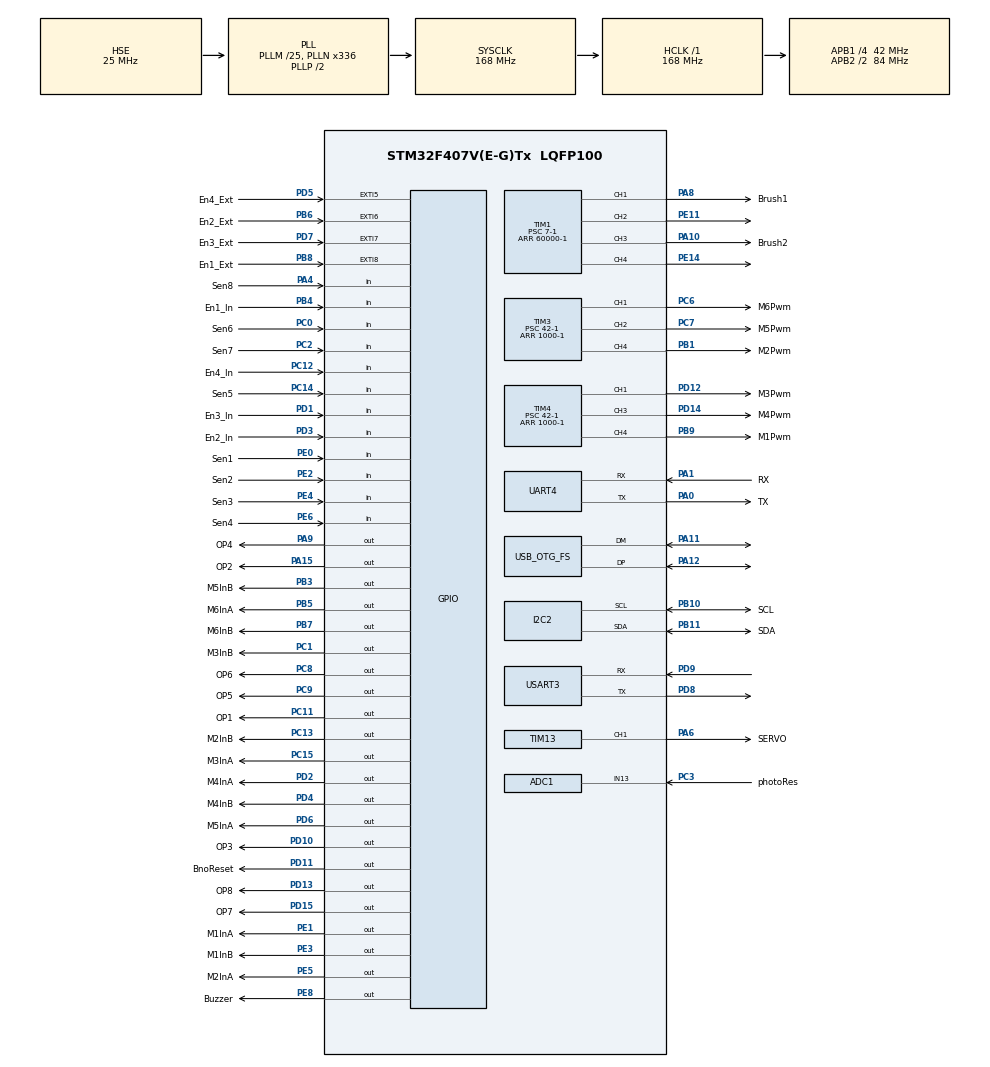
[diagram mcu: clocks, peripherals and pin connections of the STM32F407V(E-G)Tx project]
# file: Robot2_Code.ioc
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ADC1.Channel-0\#ChannelRegularConversion=ADC_CHANNEL_13
ADC1.NbrOfConversionFlag=1
ADC1.Rank-0\#ChannelRegularConversion=1
ADC1.SamplingTime-0\#ChannelRegularConversion=ADC_SAMPLETIME_3CYCLES
ADC1.master=1
Dma.Request0=UART4_TX
Dma.UART4_TX.0.Direction=DMA_MEMORY_TO_PERIPH
Dma.UART4_TX.0.FIFOMode=DMA_FIFOMODE_DISABLE
Dma.UART4_TX.0.Instance=DMA1_Stream4
Dma.UART4_TX.0.MemDataAlignment=DMA_MDATAALIGN_BYTE
Dma.UART4_TX.0.MemInc=DMA_MINC_ENABLE
Dma.UART4_TX.0.Mode=DMA_NORMAL
Dma.UART4_TX.0.PeriphDataAlignment=DMA_PDATAALIGN_BYTE
Dma.UART4_TX.0.PeriphInc=DMA_PINC_DISABLE
Dma.UART4_TX.0.Priority=DMA_PRIORITY_LOW
I2C2.I2C_Mode=I2C_Fast
Mcu.Family=STM32F4
Mcu.Name=STM32F407V(E-G)Tx
Mcu.Package=LQFP100
NVIC.DMA1_Stream4_IRQn=true\:0\:0\:false\:false\:true\:false\:true\:true
NVIC.EXTI9_5_IRQn=true\:0\:0\:false\:false\:true\:true\:true\:true
NVIC.OTG_FS_IRQn=true\:0\:0\:false\:false\:true\:false\:true\:true
NVIC.PriorityGroup=NVIC_PRIORITYGROUP_4
NVIC.TIM7_IRQn=true\:0\:0\:false\:false\:true\:true\:true\:true
NVIC.USART3_IRQn=true\:0\:0\:false\:false\:true\:true\:true\:true
PA0-WKUP.GPIO_Label=TX
PA0-WKUP.Mode=Asynchronous
PA0-WKUP.Signal=UART4_TX
PA1.GPIO_Label=RX
PA1.Mode=Asynchronous
PA1.Signal=UART4_RX
PA10.GPIO_Label=Brush2
PA10.Signal=S_TIM1_CH3
PA11.Mode=Device_Only
PA11.Signal=USB_OTG_FS_DM
PA12.Mode=Device_Only
PA12.Signal=USB_OTG_FS_DP
PA13.Mode=Serial_Wire
PA13.Signal=SYS_JTMS-SWDIO
PA14.Mode=Serial_Wire
PA14.Signal=SYS_JTCK-SWCLK
PA15.GPIO_Label=OP2
PA15.Signal=GPIO_Output
PA4.GPIO_Label=Sen8
PA4.GPIO_PuPd=GPIO_PULLUP
PA4.Signal=GPIO_Input
PA6.GPIO_Label=SERVO
PA6.Signal=S_TIM13_CH1
PA8.GPIO_Label=Brush1
PA8.Signal=S_TIM1_CH1
PA9.GPIO_Label=OP4
PA9.Signal=GPIO_Output
PB1.GPIO_Label=M2Pwm
PB1.Signal=S_TIM3_CH4
PB10.GPIO_Label=SCL
PB10.Mode=I2C
PB10.Signal=I2C2_SCL
PB11.GPIO_Label=SDA
PB11.Mode=I2C
PB11.Signal=I2C2_SDA
PB3.GPIO_Label=M5InB
PB3.Signal=GPIO_Output
PB4.GPIO_Label=En1_In
PB4.GPIO_PuPd=GPIO_PULLUP
PB4.Signal=GPIO_Input
PB5.GPIO_Label=M6InA
PB5.Signal=GPIO_Output
PB6.GPIO_Label=En2_Ext
PB6.GPIO_ModeDefaultEXTI=GPIO_MODE_IT_RISING
PB6.Signal=GPXTI6
PB7.GPIO_Label=M6InB
PB7.Signal=GPIO_Output
PB8.GPIO_Label=En1_Ext
PB8.Signal=GPXTI8
PB9.GPIO_Label=M1Pwm
PB9.Signal=S_TIM4_CH4
PC0.GPIO_Label=Sen6
PC0.GPIO_PuPd=GPIO_PULLUP
PC0.Signal=GPIO_Input
PC1.GPIO_Label=M3InB
PC1.Signal=GPIO_Output
PC11.GPIO_Label=OP1
PC11.Signal=GPIO_Output
PC12.GPIO_Label=En4_In
PC12.GPIO_PuPd=GPIO_PULLUP
PC12.Signal=GPIO_Input
PC13-ANTI_TAMP.GPIO_Label=M2InB
PC13-ANTI_TAMP.Signal=GPIO_Output
PC14-OSC32_IN.GPIO_Label=Sen5
PC14-OSC32_IN.GPIO_PuPd=GPIO_PULLUP
PC14-OSC32_IN.Signal=GPIO_Input
PC15-OSC32_OUT.GPIO_Label=M3InA
PC15-OSC32_OUT.Signal=GPIO_Output
PC2.GPIO_Label=Sen7
PC2.GPIO_PuPd=GPIO_PULLUP
PC2.Signal=GPIO_Input
PC3.GPIO_Label=photoRes
PC3.Signal=SharedAnalog_PC3
PC6.GPIO_Label=M6Pwm
PC6.Signal=S_TIM3_CH1
PC7.GPIO_Label=M5Pwm
PC7.Signal=S_TIM3_CH2
PC8.GPIO_Label=OP6
PC8.Signal=GPIO_Output
PC9.GPIO_Label=OP5
PC9.Signal=GPIO_Output
PD1.GPIO_Label=En3_In
PD1.GPIO_PuPd=GPIO_PULLUP
PD1.Signal=GPIO_Input
PD10.GPIO_Label=OP3
PD10.Signal=GPIO_Output
PD11.GPIO_Label=BnoReset
PD11.Signal=GPIO_Output
PD12.GPIO_Label=M3Pwm
PD12.Signal=S_TIM4_CH1
PD13.GPIO_Label=OP8
PD13.Signal=GPIO_Output
PD14.GPIO_Label=M4Pwm
PD14.Signal=S_TIM4_CH3
PD15.GPIO_Label=OP7
PD15.Signal=GPIO_Output
PD2.GPIO_Label=M4InA
PD2.Signal=GPIO_Output
PD3.GPIO_Label=En2_In
PD3.GPIO_PuPd=GPIO_PULLUP
PD3.Signal=GPIO_Input
PD4.GPIO_Label=M4InB
PD4.Signal=GPIO_Output
PD5.GPIO_Label=En4_Ext
PD5.Signal=GPXTI5
PD6.GPIO_Label=M5InA
PD6.Signal=GPIO_Output
PD7.GPIO_Label=En3_Ext
PD7.Signal=GPXTI7
PD8.Mode=Asynchronous
PD8.Signal=USART3_TX
PD9.Mode=Asynchronous
PD9.Signal=USART3_RX
PE0.GPIO_Label=Sen1
PE0.GPIO_PuPd=GPIO_PULLUP
PE0.Signal=GPIO_Input
PE1.GPIO_Label=M1InA
PE1.Signal=GPIO_Output
PE11.Signal=S_TIM1_CH2
PE14.Signal=S_TIM1_CH4
PE2.GPIO_Label=Sen2
PE2.GPIO_PuPd=GPIO_PULLUP
PE2.Signal=GPIO_Input
PE3.GPIO_Label=M1InB
PE3.Signal=GPIO_Output
PE4.GPIO_Label=Sen3
PE4.GPIO_PuPd=GPIO_PULLUP
PE4.Signal=GPIO_Input
PE5.GPIO_Label=M2InA
PE5.Signal=GPIO_Output
PE6.GPIO_Label=Sen4
PE6.GPIO_PuPd=GPIO_PULLUP
PE6.Signal=GPIO_Input
PE8.GPIO_Label=Buzzer
PE8.Signal=GPIO_Output
PH0-OSC_IN.Mode=HSE-External-Oscillator
PH0-OSC_IN.Signal=RCC_OSC_IN
PH1-OSC_OUT.Mode=HSE-External-Oscillator
PH1-OSC_OUT.Signal=RCC_OSC_OUT
ProjectManager.HeapSize=0x200
ProjectManager.StackSize=0x400
ProjectManager.TargetToolchain=CMake
RCC.48MHZClocksFreq_Value=48000000
RCC.AHBFreq_Value=168000000
RCC.APB1CLKDivider=RCC_HCLK_DIV4
RCC.APB1Freq_Value=42000000
RCC.APB1TimFreq_Value=84000000
RCC.APB2CLKDivider=RCC_HCLK_DIV2
RCC.APB2Freq_Value=84000000
RCC.APB2TimFreq_Value=168000000
RCC.CortexFreq_Value=168000000
RCC.HCLKFreq_Value=168000000
RCC.HSE_VALUE=25000000
RCC.HSI_VALUE=16000000
RCC.LSE_VALUE=32768
RCC.PLLM=25
RCC.PLLN=336
RCC.PLLQ=7
RCC.SYSCLKFreq_VALUE=168000000
RCC.SYSCLKSource=RCC_SYSCLKSOURCE_PLLCLK
RCC.VCOOutputFreq_Value=336000000
SH.S_TIM13_CH1.0=TIM13_CH1,PWM Generation1 CH1
SH.S_TIM1_CH1.0=TIM1_CH1,PWM Generation1 CH1
SH.S_TIM1_CH2.0=TIM1_CH2,PWM Generation2 CH2
SH.S_TIM1_CH3.0=TIM1_CH3,PWM Generation3 CH3
SH.S_TIM1_CH4.0=TIM1_CH4,PWM Generation4 CH4
SH.S_TIM3_CH1.0=TIM3_CH1,PWM Generation1 CH1
SH.S_TIM3_CH2.0=TIM3_CH2,PWM Generation2 CH2
SH.S_TIM3_CH4.0=TIM3_CH4,PWM Generation4 CH4
SH.S_TIM4_CH1.0=TIM4_CH1,PWM Generation1 CH1
SH.S_TIM4_CH3.0=TIM4_CH3,PWM Generation3 CH3
SH.S_TIM4_CH4.0=TIM4_CH4,PWM Generation4 CH4
SH.SharedAnalog_PC3.0=GPIO_Analog
SH.SharedAnalog_PC3.1=ADC1_IN13,IN13
TIM1.Channel-PWM\ Generation1\ CH1=TIM_CHANNEL_1
TIM1.Channel-PWM\ Generation2\ CH2=TIM_CHANNEL_2
TIM1.Channel-PWM\ Generation3\ CH3=TIM_CHANNEL_3
TIM1.Channel-PWM\ Generation4\ CH4=TIM_CHANNEL_4
TIM1.Period=60000-1
TIM1.Prescaler=7-1
TIM13.Channel=TIM_CHANNEL_1
TIM13.Period=19999
TIM13.Prescaler=83
TIM13.Pulse=1500
TIM3.Channel-PWM\ Generation1\ CH1=TIM_CHANNEL_1
TIM3.Channel-PWM\ Generation2\ CH2=TIM_CHANNEL_2
TIM3.Channel-PWM\ Generation4\ CH4=TIM_CHANNEL_4
TIM3.Period=1000-1
TIM3.Prescaler=42-1
TIM4.Channel-PWM\ Generation1\ CH1=TIM_CHANNEL_1
TIM4.Channel-PWM\ Generation3\ CH3=TIM_CHANNEL_3
TIM4.Channel-PWM\ Generation4\ CH4=TIM_CHANNEL_4
TIM4.Period=1000-1
TIM4.Prescaler=42-1
TIM7.Period=1000-1
TIM7.Prescaler=42-1
UART4.VirtualMode=Asynchronous
USART3.VirtualMode=VM_ASYNC
USB_DEVICE.CLASS_NAME_FS=CDC
USB_DEVICE.VirtualMode-CDC_FS=Cdc
USB_DEVICE.VirtualModeFS=Cdc_FS
USB_OTG_FS.VirtualMode=Device_Only
VP_TIM13_VS_ClockSourceINT.Mode=Enable_Timer
VP_TIM1_VS_ClockSourceINT.Mode=Internal
VP_TIM4_VS_ClockSourceINT.Mode=Internal
VP_TIM7_VS_ClockSourceINT.Mode=Enable_Timer
VP_USB_DEVICE_VS_USB_DEVICE_CDC_FS.Mode=CDC_FS
board=custom

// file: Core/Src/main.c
/* USER CODE BEGIN Header */
/**
  ******************************************************************************
  * @file           : main.c
  * @brief          : Main program body
  ******************************************************************************
  * @attention
  *
  * Copyright (c) 2025 STMicroelectronics.
  * All rights reserved.
  *
  * This software is licensed under terms that can be found in the LICENSE file
  * in the root directory of this software component.
  * If no LICENSE file comes with this software, it is provided AS-IS.
  *
  ***************************************c***************************************
  */
/* USER CODE END Header */
#include "main.h"
#include "usb_device.h"

/* USER CODE BEGIN Includes */
#include "lpms.h"
#include "general.h"
#include "test.h"
#include <stdio.h>
#include "red.h"
#include "blue.h"
#include "sequence.h"
//#include "lpms.h"
/* USER CODE END Includes */

ADC_HandleTypeDef hadc1;

I2C_HandleTypeDef hi2c2;

TIM_HandleTypeDef htim1;
TIM_HandleTypeDef htim3;
TIM_HandleTypeDef htim4;
TIM_HandleTypeDef htim7;
TIM_HandleTypeDef htim13;

UART_HandleTypeDef huart4;
UART_HandleTypeDef huart3;
DMA_HandleTypeDef hdma_uart4_tx;

void SystemClock_Config(void);
static void MX_GPIO_Init(void);
static void MX_DMA_Init(void);
static void MX_I2C2_Init(void);
static void MX_TIM1_Init(void);
static void MX_UART4_Init(void);
static void MX_USART3_UART_Init(void);
static void MX_TIM3_Init(void);
static void MX_TIM4_Init(void);
static void MX_TIM7_Init(void);
static void MX_TIM13_Init(void);
static void MX_ADC1_Init(void);
/* USER CODE BEGIN PFP */

int control_data[5][4]={0};

void send_DMA(uint8_t command) {
    HAL_UART_Transmit(&huart4, &command, 1, HAL_MAX_DELAY);
}
uint8_t information[23];  // шинэ урт
uint8_t rx_idx = 0;
uint8_t data;

/* -----------------------------------------------------------------------------
 *  HAL_UART_RxCpltCallback — ESP32-оос ирсэн PS5 багцыг задлах (huart3, 1 байт/удаа)
 *
 *  Багц: 23 байт,  [0]=0xAA (START) ... [22]=0x0A (END),  [21]=холболтын флаг.
 *  START байт хүлээж, 23 байт бүрдэхэд задалж control_data[5][4]-д хийнэ.
 *
 *  ─ Джойстик (information[1..4] − 100 → control_data[0][0..3], утга −100..100) ─
 *      control_data[0][0] = Зүүн стик X       control_data[0][2] = Баруун стик X
 *      control_data[0][1] = Зүүн стик Y       control_data[0][3] = Баруун стик Y
 *
 *  ─ Товч (information[5..20] → control_data[1..4][0..3], утга 0/1) ─
 *      control_data[1][0]=Cross    [1][1]=Square   [1][2]=Triangle [1][3]=Circle
 *      control_data[2][0]=D-Down   [2][1]=D-Right  [2][2]=D-Up     [2][3]=D-Left
 *      control_data[3][0]=L1       [3][1]=R1       [3][2]=L2       [3][3]=R2
 *      control_data[4][0]=Share    [4][1]=Options  [4][2]=L3       [4][3]=R3
 *
 *  Холбогдоогүй (флаг = 0) бол бүх утгыг 0 болгож цэвэрлэнэ.
 * -----------------------------------------------------------------------------
 */
void HAL_UART_RxCpltCallback(UART_HandleTypeDef *huart)
{
  if (huart == &huart3)
  {
    if (rx_idx == 0 && data != 0xAA) {
      HAL_UART_Receive_IT(&huart3, &data, 1);
      return;
    }

    information[rx_idx++] = data;

    if (rx_idx == 23 && information[22] == 0x0A)
    {
      uint8_t isConnected = information[21];

      if (isConnected == 1) {
        // --- Джойстик: information[1..4] → control_data[0][0..3], төв 100-г хасаж -100..100 ---
        //   [0][0]=LStickX  [0][1]=LStickY  [0][2]=RStickX  [0][3]=RStickY
        for (int i = 0; i < 4; i++) {
          control_data[0][i] = information[1 + i] - 100;
        }

        // --- Товч: information[5..20] → control_data[1..4][0..3] (0/1) ---
        //   мөр 1 = Cross/Square/Triangle/Circle
        //   мөр 2 = D-pad Down/Right/Up/Left
        //   мөр 3 = L1/R1/L2/R2
        //   мөр 4 = Share/Options/L3/R3
        for (int i = 0; i < 16; i++) {
          control_data[1 + (i / 4)][i % 4] = information[5 + i];
        }

      } else {
        // --- Холбогдоогүй: бүх джойстик/товчийг тэглэх ---
        for (int i = 0; i < 5; i++) {
          for (int j = 0; j < 4; j++) {
            control_data[i][j] = 0;
          }
        }
      }

      rx_idx = 0;
    }
    else if (rx_idx >= 23) {
    	rx_idx = 0;  // invalid
    }

    HAL_UART_Receive_IT(&huart3, &data, 1);
  }
}

/* USER CODE END PFP */

/* USER CODE BEGIN 0 */

extern int timer;
extern int counter[4];

uint8_t usb_received_value = 0;
uint8_t usb_new_data_flag = 0;

/* USER CODE END 0 */

int main(void)
{

  /* MCU Configuration--------------------------------------------------------*/

  /* Reset of all peripherals, Initializes the Flash interface and the Systick. */
  HAL_Init();

  /* Configure the system clock */
  SystemClock_Config();

  /* Initialize all configured peripherals */
  MX_GPIO_Init();
  MX_DMA_Init();
  MX_I2C2_Init();
  MX_TIM1_Init();
  MX_UART4_Init();
  MX_USART3_UART_Init();
  MX_TIM3_Init();
  MX_TIM4_Init();
  MX_TIM7_Init();
  MX_TIM13_Init();
  MX_ADC1_Init();
  MX_USB_DEVICE_Init();
  /* USER CODE BEGIN 2 */
  generalInit();
  LPMS_Init();

  for (int i = 0; i < 50; i++) {
      LPMS_Read();
  }

  Gyro_ZeroYaw();

  Rack_SetHome(&frontRack);
  Rack_SetHome(&backRack);
  Red_Reset();
  /* USER CODE END 2 */

  /* Infinite loop */
  /* USER CODE BEGIN WHILE */

  // ===== ТЕСТ: рак-ийг TIM7 ISR-ээр барих, R1/R2/L1/L2 товчоор зорилт тохируулах =====
  // Товч дарахад урд/хойд рак ХОЁУЛАА тухайн байрлал руу очиж, ISR тэнд барина.
  // ESP32 packet-ийн дагуу control_data[3] = { L1, R1, L2, R2 }:
  //   control_data[3][1] = R1  → 900
  //   control_data[3][3] = R2  → 1350
  //   control_data[3][0] = L1  → 1800
  //   control_data[3][2] = L2  → 0
  // (Байрлал ↔ товчийг доор чөлөөтэй сольж болно.)
  Rack_SetTarget(&frontRack, 0);
  Rack_SetTarget(&backRack, 0);

  while (1) {
      int pos = -1;   // -1 = товч дараагүй

      if      (control_data[3][1]) pos = 900;    // R1
      else if (control_data[3][3]) pos = 1350;   // R2
      else if (control_data[3][0]) pos = 1800;   // L1
      else if (control_data[3][2]) pos = 0;      // L2

      // Товч дарагдсан бол урд/хойд ХОЁУЛАНГ тухайн байрлал руу
      if (pos >= 0) {
          Rack_SetTarget(&frontRack, pos);
          Rack_SetTarget(&backRack,  pos);
      }

      // --- OLED: зорилт vs бодит encoder (рак ISR-ээр баригдаж байгааг хар) ---
      colorFill(Black);
      setCursor(4, 2);
      printStr("FRONT t:%d", frontRack.target);
      setCursor(4, 14);
      printStr("  enc:%d", counter[0]);
      setCursor(4, 30);
      printStr("BACK  t:%d", backRack.target);
      setCursor(4, 42);
      printStr("  enc:%d", counter[1]);
      setScreen();

      HAL_Delay(20);
  }
    /* USER CODE END WHILE */

}

void SystemClock_Config(void)
{
  RCC_OscInitTypeDef RCC_OscInitStruct = {0};
  RCC_ClkInitTypeDef RCC_ClkInitStruct = {0};

  /** Configure the main internal regulator output voltage
  */
  __HAL_RCC_PWR_CLK_ENABLE();
  __HAL_PWR_VOLTAGESCALING_CONFIG(PWR_REGULATOR_VOLTAGE_SCALE1);

  /** Initializes the RCC Oscillators according to the specified parameters
  * in the RCC_OscInitTypeDef structure.
  */
  RCC_OscInitStruct.OscillatorType = RCC_OSCILLATORTYPE_HSE;
  RCC_OscInitStruct.HSEState = RCC_HSE_ON;
  RCC_OscInitStruct.PLL.PLLState = RCC_PLL_ON;
  RCC_OscInitStruct.PLL.PLLSource = RCC_PLLSOURCE_HSE;
  RCC_OscInitStruct.PLL.PLLM = 25;
  RCC_OscInitStruct.PLL.PLLN = 336;
  RCC_OscInitStruct.PLL.PLLP = RCC_PLLP_DIV2;
  RCC_OscInitStruct.PLL.PLLQ = 7;
  if (HAL_RCC_OscConfig(&RCC_OscInitStruct) != HAL_OK)
  {
    Error_Handler();
  }

  /** Initializes the CPU, AHB and APB buses clocks
  */
  RCC_ClkInitStruct.ClockType = RCC_CLOCKTYPE_HCLK|RCC_CLOCKTYPE_SYSCLK
                              |RCC_CLOCKTYPE_PCLK1|RCC_CLOCKTYPE_PCLK2;
  RCC_ClkInitStruct.SYSCLKSource = RCC_SYSCLKSOURCE_PLLCLK;
  RCC_ClkInitStruct.AHBCLKDivider = RCC_SYSCLK_DIV1;
  RCC_ClkInitStruct.APB1CLKDivider = RCC_HCLK_DIV4;
  RCC_ClkInitStruct.APB2CLKDivider = RCC_HCLK_DIV2;

  if (HAL_RCC_ClockConfig(&RCC_ClkInitStruct, FLASH_LATENCY_5) != HAL_OK)
  {
    Error_Handler();
  }
}

static void MX_ADC1_Init(void)
{

  ADC_ChannelConfTypeDef sConfig = {0};

  /** Configure the global features of the ADC (Clock, Resolution, Data Alignment and number of conversion)
  */
  hadc1.Instance = ADC1;
  hadc1.Init.ClockPrescaler = ADC_CLOCK_SYNC_PCLK_DIV4;
  hadc1.Init.Resolution = ADC_RESOLUTION_12B;
  hadc1.Init.ScanConvMode = DISABLE;
  hadc1.Init.ContinuousConvMode = DISABLE;
  hadc1.Init.DiscontinuousConvMode = DISABLE;
  hadc1.Init.ExternalTrigConvEdge = ADC_EXTERNALTRIGCONVEDGE_NONE;
  hadc1.Init.ExternalTrigConv = ADC_SOFTWARE_START;
  hadc1.Init.DataAlign = ADC_DATAALIGN_RIGHT;
  hadc1.Init.NbrOfConversion = 1;
  hadc1.Init.DMAContinuousRequests = DISABLE;
  hadc1.Init.EOCSelection = ADC_EOC_SINGLE_CONV;
  if (HAL_ADC_Init(&hadc1) != HAL_OK)
  {
    Error_Handler();
  }

  /** Configure for the selected ADC regular channel its corresponding rank in the sequencer and its sample time.
  */
  sConfig.Channel = ADC_CHANNEL_13;
  sConfig.Rank = 1;
  sConfig.SamplingTime = ADC_SAMPLETIME_3CYCLES;
  if (HAL_ADC_ConfigChannel(&hadc1, &sConfig) != HAL_OK)
  {
    Error_Handler();
  }

}

static void MX_I2C2_Init(void)
{

  hi2c2.Instance = I2C2;
  hi2c2.Init.ClockSpeed = 400000;
  hi2c2.Init.DutyCycle = I2C_DUTYCYCLE_2;
  hi2c2.Init.OwnAddress1 = 0;
  hi2c2.Init.AddressingMode = I2C_ADDRESSINGMODE_7BIT;
  hi2c2.Init.DualAddressMode = I2C_DUALADDRESS_DISABLE;
  hi2c2.Init.OwnAddress2 = 0;
  hi2c2.Init.GeneralCallMode = I2C_GENERALCALL_DISABLE;
  hi2c2.Init.NoStretchMode = I2C_NOSTRETCH_DISABLE;
  if (HAL_I2C_Init(&hi2c2) != HAL_OK)
  {
    Error_Handler();
  }

}

static void MX_TIM1_Init(void)
{

  TIM_ClockConfigTypeDef sClockSourceConfig = {0};
  TIM_MasterConfigTypeDef sMasterConfig = {0};
  TIM_OC_InitTypeDef sConfigOC = {0};
  TIM_BreakDeadTimeConfigTypeDef sBreakDeadTimeConfig = {0};

  htim1.Instance = TIM1;
  htim1.Init.Prescaler = 7-1;
  htim1.Init.CounterMode = TIM_COUNTERMODE_UP;
  htim1.Init.Period = 60000-1;
  htim1.Init.ClockDivision = TIM_CLOCKDIVISION_DIV1;
  htim1.Init.RepetitionCounter = 0;
  htim1.Init.AutoReloadPreload = TIM_AUTORELOAD_PRELOAD_DISABLE;
  if (HAL_TIM_Base_Init(&htim1) != HAL_OK)
  {
    Error_Handler();
  }
  sClockSourceConfig.ClockSource = TIM_CLOCKSOURCE_INTERNAL;
  if (HAL_TIM_ConfigClockSource(&htim1, &sClockSourceConfig) != HAL_OK)
  {
    Error_Handler();
  }
  if (HAL_TIM_PWM_Init(&htim1) != HAL_OK)
  {
    Error_Handler();
  }
  sMasterConfig.MasterOutputTrigger = TIM_TRGO_RESET;
  sMasterConfig.MasterSlaveMode = TIM_MASTERSLAVEMODE_DISABLE;
  if (HAL_TIMEx_MasterConfigSynchronization(&htim1, &sMasterConfig) != HAL_OK)
  {
    Error_Handler();
  }
  sConfigOC.OCMode = TIM_OCMODE_PWM1;
  sConfigOC.Pulse = 0;
  sConfigOC.OCPolarity = TIM_OCPOLARITY_HIGH;
  sConfigOC.OCNPolarity = TIM_OCNPOLARITY_HIGH;
  sConfigOC.OCFastMode = TIM_OCFAST_DISABLE;
  sConfigOC.OCIdleState = TIM_OCIDLESTATE_RESET;
  sConfigOC.OCNIdleState = TIM_OCNIDLESTATE_RESET;
  if (HAL_TIM_PWM_ConfigChannel(&htim1, &sConfigOC, TIM_CHANNEL_1) != HAL_OK)
  {
    Error_Handler();
  }
  if (HAL_TIM_PWM_ConfigChannel(&htim1, &sConfigOC, TIM_CHANNEL_2) != HAL_OK)
  {
    Error_Handler();
  }
  if (HAL_TIM_PWM_ConfigChannel(&htim1, &sConfigOC, TIM_CHANNEL_3) != HAL_OK)
  {
    Error_Handler();
  }
  if (HAL_TIM_PWM_ConfigChannel(&htim1, &sConfigOC, TIM_CHANNEL_4) != HAL_OK)
  {
    Error_Handler();
  }
  sBreakDeadTimeConfig.OffStateRunMode = TIM_OSSR_DISABLE;
  sBreakDeadTimeConfig.OffStateIDLEMode = TIM_OSSI_DISABLE;
  sBreakDeadTimeConfig.LockLevel = TIM_LOCKLEVEL_OFF;
  sBreakDeadTimeConfig.DeadTime = 0;
  sBreakDeadTimeConfig.BreakState = TIM_BREAK_DISABLE;
  sBreakDeadTimeConfig.BreakPolarity = TIM_BREAKPOLARITY_HIGH;
  sBreakDeadTimeConfig.AutomaticOutput = TIM_AUTOMATICOUTPUT_DISABLE;
  if (HAL_TIMEx_ConfigBreakDeadTime(&htim1, &sBreakDeadTimeConfig) != HAL_OK)
  {
    Error_Handler();
  }
  HAL_TIM_MspPostInit(&htim1);

}

static void MX_TIM3_Init(void)
{

  TIM_MasterConfigTypeDef sMasterConfig = {0};
  TIM_OC_InitTypeDef sConfigOC = {0};

  htim3.Instance = TIM3;
  htim3.Init.Prescaler = 42-1;
  htim3.Init.CounterMode = TIM_COUNTERMODE_UP;
  htim3.Init.Period = 1000-1;
  htim3.Init.ClockDivision = TIM_CLOCKDIVISION_DIV1;
  htim3.Init.AutoReloadPreload = TIM_AUTORELOAD_PRELOAD_DISABLE;
  if (HAL_TIM_PWM_Init(&htim3) != HAL_OK)
  {
    Error_Handler();
  }
  sMasterConfig.MasterOutputTrigger = TIM_TRGO_RESET;
  sMasterConfig.MasterSlaveMode = TIM_MASTERSLAVEMODE_DISABLE;
  if (HAL_TIMEx_MasterConfigSynchronization(&htim3, &sMasterConfig) != HAL_OK)
  {
    Error_Handler();
  }
  sConfigOC.OCMode = TIM_OCMODE_PWM1;
  sConfigOC.Pulse = 0;
  sConfigOC.OCPolarity = TIM_OCPOLARITY_HIGH;
  sConfigOC.OCFastMode = TIM_OCFAST_DISABLE;
  if (HAL_TIM_PWM_ConfigChannel(&htim3, &sConfigOC, TIM_CHANNEL_1) != HAL_OK)
  {
    Error_Handler();
  }
  if (HAL_TIM_PWM_ConfigChannel(&htim3, &sConfigOC, TIM_CHANNEL_2) != HAL_OK)
  {
    Error_Handler();
  }
  if (HAL_TIM_PWM_ConfigChannel(&htim3, &sConfigOC, TIM_CHANNEL_4) != HAL_OK)
  {
    Error_Handler();
  }
  HAL_TIM_MspPostInit(&htim3);

}

static void MX_TIM4_Init(void)
{

  TIM_ClockConfigTypeDef sClockSourceConfig = {0};
  TIM_MasterConfigTypeDef sMasterConfig = {0};
  TIM_OC_InitTypeDef sConfigOC = {0};

  htim4.Instance = TIM4;
  htim4.Init.Prescaler = 42-1;
  htim4.Init.CounterMode = TIM_COUNTERMODE_UP;
  htim4.Init.Period = 1000-1;
  htim4.Init.ClockDivision = TIM_CLOCKDIVISION_DIV1;
  htim4.Init.AutoReloadPreload = TIM_AUTORELOAD_PRELOAD_DISABLE;
  if (HAL_TIM_Base_Init(&htim4) != HAL_OK)
  {
    Error_Handler();
  }
  sClockSourceConfig.ClockSource = TIM_CLOCKSOURCE_INTERNAL;
  if (HAL_TIM_ConfigClockSource(&htim4, &sClockSourceConfig) != HAL_OK)
  {
    Error_Handler();
  }
  if (HAL_TIM_PWM_Init(&htim4) != HAL_OK)
  {
    Error_Handler();
  }
  sMasterConfig.MasterOutputTrigger = TIM_TRGO_RESET;
  sMasterConfig.MasterSlaveMode = TIM_MASTERSLAVEMODE_DISABLE;
  if (HAL_TIMEx_MasterConfigSynchronization(&htim4, &sMasterConfig) != HAL_OK)
  {
    Error_Handler();
  }
  sConfigOC.OCMode = TIM_OCMODE_PWM1;
  sConfigOC.Pulse = 0;
  sConfigOC.OCPolarity = TIM_OCPOLARITY_HIGH;
  sConfigOC.OCFastMode = TIM_OCFAST_DISABLE;
  if (HAL_TIM_PWM_ConfigChannel(&htim4, &sConfigOC, TIM_CHANNEL_1) != HAL_OK)
  {
    Error_Handler();
  }
  if (HAL_TIM_PWM_ConfigChannel(&htim4, &sConfigOC, TIM_CHANNEL_3) != HAL_OK)
  {
    Error_Handler();
  }
  if (HAL_TIM_PWM_ConfigChannel(&htim4, &sConfigOC, TIM_CHANNEL_4) != HAL_OK)
  {
    Error_Handler();
  }
  HAL_TIM_MspPostInit(&htim4);

}

static void MX_TIM7_Init(void)
{

  TIM_MasterConfigTypeDef sMasterConfig = {0};

  htim7.Instance = TIM7;
  htim7.Init.Prescaler = 42-1;
  htim7.Init.CounterMode = TIM_COUNTERMODE_UP;
  htim7.Init.Period = 1000-1;
  htim7.Init.AutoReloadPreload = TIM_AUTORELOAD_PRELOAD_DISABLE;
  if (HAL_TIM_Base_Init(&htim7) != HAL_OK)
  {
    Error_Handler();
  }
  sMasterConfig.MasterOutputTrigger = TIM_TRGO_RESET;
  sMasterConfig.MasterSlaveMode = TIM_MASTERSLAVEMODE_DISABLE;
  if (HAL_TIMEx_MasterConfigSynchronization(&htim7, &sMasterConfig) != HAL_OK)
  {
    Error_Handler();
  }

}

static void MX_TIM13_Init(void)
{

  TIM_OC_InitTypeDef sConfigOC = {0};

  htim13.Instance = TIM13;
  htim13.Init.Prescaler = 83;
  htim13.Init.CounterMode = TIM_COUNTERMODE_UP;
  htim13.Init.Period = 19999;
  htim13.Init.ClockDivision = TIM_CLOCKDIVISION_DIV1;
  htim13.Init.AutoReloadPreload = TIM_AUTORELOAD_PRELOAD_DISABLE;
  if (HAL_TIM_Base_Init(&htim13) != HAL_OK)
  {
    Error_Handler();
  }
  if (HAL_TIM_PWM_Init(&htim13) != HAL_OK)
  {
    Error_Handler();
  }
  sConfigOC.OCMode = TIM_OCMODE_PWM1;
  sConfigOC.Pulse = 1500;
  sConfigOC.OCPolarity = TIM_OCPOLARITY_HIGH;
  sConfigOC.OCFastMode = TIM_OCFAST_DISABLE;
  if (HAL_TIM_PWM_ConfigChannel(&htim13, &sConfigOC, TIM_CHANNEL_1) != HAL_OK)
  {
    Error_Handler();
  }
  HAL_TIM_MspPostInit(&htim13);

}

static void MX_UART4_Init(void)
{

  huart4.Instance = UART4;
  huart4.Init.BaudRate = 115200;
  huart4.Init.WordLength = UART_WORDLENGTH_8B;
  huart4.Init.StopBits = UART_STOPBITS_1;
  huart4.Init.Parity = UART_PARITY_NONE;
  huart4.Init.Mode = UART_MODE_TX_RX;
  huart4.Init.HwFlowCtl = UART_HWCONTROL_NONE;
  huart4.Init.OverSampling = UART_OVERSAMPLING_16;
  if (HAL_UART_Init(&huart4) != HAL_OK)
  {
    Error_Handler();
  }

}

static void MX_USART3_UART_Init(void)
{

  huart3.Instance = USART3;
  huart3.Init.BaudRate = 115200;
  huart3.Init.WordLength = UART_WORDLENGTH_8B;
  huart3.Init.StopBits = UART_STOPBITS_1;
  huart3.Init.Parity = UART_PARITY_NONE;
  huart3.Init.Mode = UART_MODE_TX_RX;
  huart3.Init.HwFlowCtl = UART_HWCONTROL_NONE;
  huart3.Init.OverSampling = UART_OVERSAMPLING_16;
  if (HAL_UART_Init(&huart3) != HAL_OK)
  {
    Error_Handler();
  }

}

static void MX_DMA_Init(void)
{

  /* DMA controller clock enable */
  __HAL_RCC_DMA1_CLK_ENABLE();

  /* DMA interrupt init */
  /* DMA1_Stream4_IRQn interrupt configuration */
  HAL_NVIC_SetPriority(DMA1_Stream4_IRQn, 0, 0);
  HAL_NVIC_EnableIRQ(DMA1_Stream4_IRQn);

}

static void MX_GPIO_Init(void)
{
  GPIO_InitTypeDef GPIO_InitStruct = {0};

  /* GPIO Ports Clock Enable */
  __HAL_RCC_GPIOE_CLK_ENABLE();
  __HAL_RCC_GPIOC_CLK_ENABLE();
  __HAL_RCC_GPIOH_CLK_ENABLE();
  __HAL_RCC_GPIOA_CLK_ENABLE();
  __HAL_RCC_GPIOB_CLK_ENABLE();
  __HAL_RCC_GPIOD_CLK_ENABLE();

  /*Configure GPIO pin Output Level */
  HAL_GPIO_WritePin(GPIOE, M1InB_Pin|M2InA_Pin|Buzzer_Pin|M1InA_Pin, GPIO_PIN_RESET);

  /*Configure GPIO pin Output Level */
  HAL_GPIO_WritePin(GPIOC, M2InB_Pin|M3InA_Pin|M3InB_Pin|OP6_Pin
                          |OP5_Pin|OP1_Pin, GPIO_PIN_RESET);

  /*Configure GPIO pin Output Level */
  HAL_GPIO_WritePin(GPIOD, OP3_Pin|BnoReset_Pin|OP8_Pin|OP7_Pin
                          |M4InA_Pin|M4InB_Pin|M5InA_Pin, GPIO_PIN_RESET);

  /*Configure GPIO pin Output Level */
  HAL_GPIO_WritePin(GPIOA, OP4_Pin|OP2_Pin, GPIO_PIN_RESET);

  /*Configure GPIO pin Output Level */
  HAL_GPIO_WritePin(GPIOB, M5InB_Pin|M6InA_Pin|M6InB_Pin, GPIO_PIN_RESET);

  /*Configure GPIO pins : Sen2_Pin Sen3_Pin Sen4_Pin Sen1_Pin */
  GPIO_InitStruct.Pin = Sen2_Pin|Sen3_Pin|Sen4_Pin|Sen1_Pin;
  GPIO_InitStruct.Mode = GPIO_MODE_INPUT;
  GPIO_InitStruct.Pull = GPIO_PULLUP;
  HAL_GPIO_Init(GPIOE, &GPIO_InitStruct);

  /*Configure GPIO pins : M1InB_Pin M2InA_Pin Buzzer_Pin M1InA_Pin */
  GPIO_InitStruct.Pin = M1InB_Pin|M2InA_Pin|Buzzer_Pin|M1InA_Pin;
  GPIO_InitStruct.Mode = GPIO_MODE_OUTPUT_PP;
  GPIO_InitStruct.Pull = GPIO_NOPULL;
  GPIO_InitStruct.Speed = GPIO_SPEED_FREQ_LOW;
  HAL_GPIO_Init(GPIOE, &GPIO_InitStruct);

  /*Configure GPIO pins : M2InB_Pin M3InA_Pin M3InB_Pin OP6_Pin
                           OP5_Pin OP1_Pin */
  GPIO_InitStruct.Pin = M2InB_Pin|M3InA_Pin|M3InB_Pin|OP6_Pin
                          |OP5_Pin|OP1_Pin;
  GPIO_InitStruct.Mode = GPIO_MODE_OUTPUT_PP;
  GPIO_InitStruct.Pull = GPIO_NOPULL;
  GPIO_InitStruct.Speed = GPIO_SPEED_FREQ_LOW;
  HAL_GPIO_Init(GPIOC, &GPIO_InitStruct);

  /*Configure GPIO pins : Sen5_Pin Sen6_Pin Sen7_Pin En4_In_Pin */
  GPIO_InitStruct.Pin = Sen5_Pin|Sen6_Pin|Sen7_Pin|En4_In_Pin;
  GPIO_InitStruct.Mode = GPIO_MODE_INPUT;
  GPIO_InitStruct.Pull = GPIO_PULLUP;
  HAL_GPIO_Init(GPIOC, &GPIO_InitStruct);

  /*Configure GPIO pin : Sen8_Pin */
  GPIO_InitStruct.Pin = Sen8_Pin;
  GPIO_InitStruct.Mode = GPIO_MODE_INPUT;
  GPIO_InitStruct.Pull = GPIO_PULLUP;
  HAL_GPIO_Init(Sen8_GPIO_Port, &GPIO_InitStruct);

  /*Configure GPIO pins : OP3_Pin BnoReset_Pin OP8_Pin OP7_Pin
                           M4InA_Pin M4InB_Pin M5InA_Pin */
  GPIO_InitStruct.Pin = OP3_Pin|BnoReset_Pin|OP8_Pin|OP7_Pin
                          |M4InA_Pin|M4InB_Pin|M5InA_Pin;
  GPIO_InitStruct.Mode = GPIO_MODE_OUTPUT_PP;
  GPIO_InitStruct.Pull = GPIO_NOPULL;
  GPIO_InitStruct.Speed = GPIO_SPEED_FREQ_LOW;
  HAL_GPIO_Init(GPIOD, &GPIO_InitStruct);

  /*Configure GPIO pins : OP4_Pin OP2_Pin */
  GPIO_InitStruct.Pin = OP4_Pin|OP2_Pin;
  GPIO_InitStruct.Mode = GPIO_MODE_OUTPUT_PP;
  GPIO_InitStruct.Pull = GPIO_NOPULL;
  GPIO_InitStruct.Speed = GPIO_SPEED_FREQ_LOW;
  HAL_GPIO_Init(GPIOA, &GPIO_InitStruct);

  /*Configure GPIO pins : En3_In_Pin En2_In_Pin */
  GPIO_InitStruct.Pin = En3_In_Pin|En2_In_Pin;
  GPIO_InitStruct.Mode = GPIO_MODE_INPUT;
  GPIO_InitStruct.Pull = GPIO_PULLUP;
  HAL_GPIO_Init(GPIOD, &GPIO_InitStruct);

  /*Configure GPIO pins : En4_Ext_Pin En3_Ext_Pin */
  GPIO_InitStruct.Pin = En4_Ext_Pin|En3_Ext_Pin;
  GPIO_InitStruct.Mode = GPIO_MODE_IT_RISING;
  GPIO_InitStruct.Pull = GPIO_NOPULL;
  HAL_GPIO_Init(GPIOD, &GPIO_InitStruct);

  /*Configure GPIO pins : M5InB_Pin M6InA_Pin M6InB_Pin */
  GPIO_InitStruct.Pin = M5InB_Pin|M6InA_Pin|M6InB_Pin;
  GPIO_InitStruct.Mode = GPIO_MODE_OUTPUT_PP;
  GPIO_InitStruct.Pull = GPIO_NOPULL;
  GPIO_InitStruct.Speed = GPIO_SPEED_FREQ_LOW;
  HAL_GPIO_Init(GPIOB, &GPIO_InitStruct);

  /*Configure GPIO pin : En1_In_Pin */
  GPIO_InitStruct.Pin = En1_In_Pin;
  GPIO_InitStruct.Mode = GPIO_MODE_INPUT;
  GPIO_InitStruct.Pull = GPIO_PULLUP;
  HAL_GPIO_Init(En1_In_GPIO_Port, &GPIO_InitStruct);

  /*Configure GPIO pins : En2_Ext_Pin En1_Ext_Pin */
  GPIO_InitStruct.Pin = En2_Ext_Pin|En1_Ext_Pin;
  GPIO_InitStruct.Mode = GPIO_MODE_IT_RISING;
  GPIO_InitStruct.Pull = GPIO_NOPULL;
  HAL_GPIO_Init(GPIOB, &GPIO_InitStruct);

  /* EXTI interrupt init*/
  HAL_NVIC_SetPriority(EXTI9_5_IRQn, 0, 0);
  HAL_NVIC_EnableIRQ(EXTI9_5_IRQn);

}

void Error_Handler(void)
{
  __disable_irq();
  while (1)
  {
  }
}
